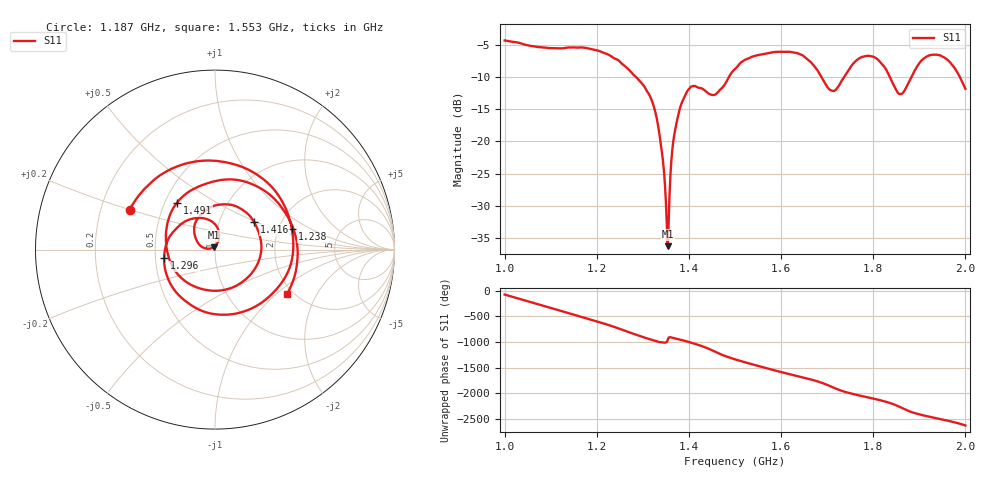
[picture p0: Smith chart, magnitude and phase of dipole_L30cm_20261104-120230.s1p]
! Dipole length 30 cm, measured 20261104-120230
# GHZ S RI R 50.000000000000
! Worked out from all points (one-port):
!   1001 points, 1 GHz to 2 GHz, reference 50 ohm
!   lowest |S11| = -36.3 dB at 1.354 GHz (marker M1), VSWR 1.03, Z = 49.2 + j1.27 ohm
!   |S11| at or under -10 dB: 1.286 GHz to 1.487 GHz (201.1 MHz wide, 14.5 % of centre); 1.688 GHz to 1.737 GHz (48.76 MHz wide, 2.85 % of centre); 1.836 GHz to 1.883 GHz (46.48 MHz wide, 2.5 % of centre)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
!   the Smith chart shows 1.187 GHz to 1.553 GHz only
!   S11 on the Smith chart (normalised r, x): 1.187 GHz: 0.33, +0.20; 1.238 GHz: 2.36, +0.67; 1.296 GHz: 0.56, -0.06; 1.416 GHz: 1.46, +0.49; 1.491 GHz: 0.58, +0.34; 1.553 GHz: 1.86, -1.18
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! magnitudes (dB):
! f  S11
! 1 GHz  -4.3
! 1.125 GHz  -5.5
! 1.187 GHz  -5.6
! 1.238 GHz  -7.1
! 1.25 GHz  -7.6
! 1.296 GHz  -10.8
! 1.33 GHz  -16.3
! 1.342 GHz  -22.0
! 1.351 GHz  -31.0
! 1.354 GHz  -36.3
! 1.357 GHz  -30.1
! 1.365 GHz  -20.6
! 1.375 GHz  -16.5
! 1.395 GHz  -12.4
! 1.416 GHz  -11.5
! 1.456 GHz  -12.7
! 1.491 GHz  -9.5
! 1.5 GHz  -8.8
! 1.553 GHz  -6.5
! 1.625 GHz  -6.1
! 1.71 GHz  -12.1
! 1.75 GHz  -8.5
! 1.798 GHz  -6.8
! 1.855 GHz  -12.5
! 1.875 GHz  -11.1
! 1.905 GHz  -7.4
! 1.936 GHz  -6.5
! 2 GHz  -11.8
